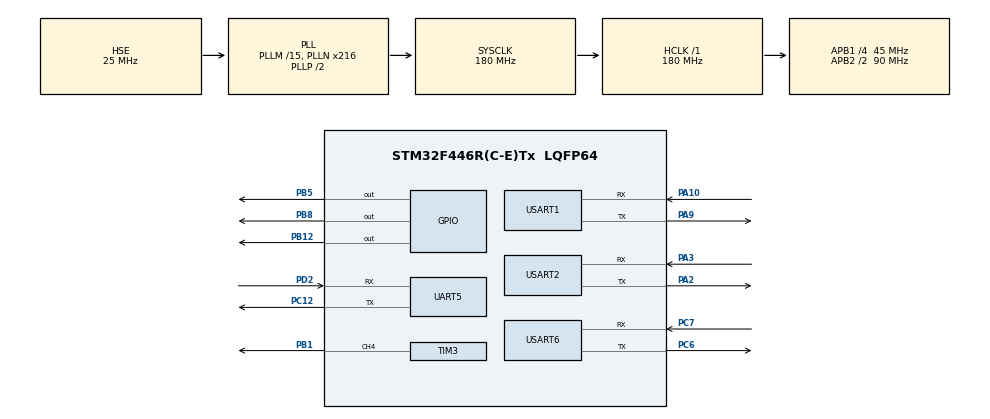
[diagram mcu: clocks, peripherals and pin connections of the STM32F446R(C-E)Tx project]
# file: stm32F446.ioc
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Dma.Request0=USART2_RX
Dma.Request1=UART5_RX
Dma.Request2=USART1_RX
Dma.UART5_RX.1.Direction=DMA_PERIPH_TO_MEMORY
Dma.UART5_RX.1.FIFOMode=DMA_FIFOMODE_DISABLE
Dma.UART5_RX.1.Instance=DMA1_Stream0
Dma.UART5_RX.1.MemDataAlignment=DMA_MDATAALIGN_BYTE
Dma.UART5_RX.1.MemInc=DMA_MINC_ENABLE
Dma.UART5_RX.1.Mode=DMA_CIRCULAR
Dma.UART5_RX.1.PeriphDataAlignment=DMA_PDATAALIGN_BYTE
Dma.UART5_RX.1.PeriphInc=DMA_PINC_DISABLE
Dma.UART5_RX.1.Priority=DMA_PRIORITY_LOW
Dma.USART1_RX.2.Direction=DMA_PERIPH_TO_MEMORY
Dma.USART1_RX.2.FIFOMode=DMA_FIFOMODE_DISABLE
Dma.USART1_RX.2.Instance=DMA2_Stream2
Dma.USART1_RX.2.MemDataAlignment=DMA_MDATAALIGN_BYTE
Dma.USART1_RX.2.MemInc=DMA_MINC_ENABLE
Dma.USART1_RX.2.Mode=DMA_CIRCULAR
Dma.USART1_RX.2.PeriphDataAlignment=DMA_PDATAALIGN_BYTE
Dma.USART1_RX.2.PeriphInc=DMA_PINC_DISABLE
Dma.USART1_RX.2.Priority=DMA_PRIORITY_LOW
Dma.USART2_RX.0.Direction=DMA_PERIPH_TO_MEMORY
Dma.USART2_RX.0.FIFOMode=DMA_FIFOMODE_DISABLE
Dma.USART2_RX.0.Instance=DMA1_Stream5
Dma.USART2_RX.0.MemDataAlignment=DMA_MDATAALIGN_BYTE
Dma.USART2_RX.0.MemInc=DMA_MINC_ENABLE
Dma.USART2_RX.0.Mode=DMA_CIRCULAR
Dma.USART2_RX.0.PeriphDataAlignment=DMA_PDATAALIGN_BYTE
Dma.USART2_RX.0.PeriphInc=DMA_PINC_DISABLE
Dma.USART2_RX.0.Priority=DMA_PRIORITY_LOW
FREERTOS.Tasks01=defaultTask,0,128,StartDefaultTask,Default,NULL,Dynamic,NULL,NULL;vision,0,128,vision_tesk,Default,NULL,Dynamic,NULL,NULL;screen,0,128,screen_tesk,Default,NULL,Dynamic,NULL,NULL;motor_control,0,128,motor_control_tesk,Default,NULL,Dynamic,NULL,NULL
Mcu.Family=STM32F4
Mcu.Name=STM32F446R(C-E)Tx
Mcu.Package=LQFP64
NVIC.DMA1_Stream0_IRQn=true\:5\:0\:false\:false\:true\:true\:false\:true\:true
NVIC.DMA1_Stream5_IRQn=true\:5\:0\:false\:false\:true\:true\:false\:true\:true
NVIC.DMA2_Stream2_IRQn=true\:5\:0\:false\:false\:true\:true\:false\:true\:true
NVIC.PriorityGroup=NVIC_PRIORITYGROUP_4
NVIC.TIM3_IRQn=true\:6\:0\:true\:false\:true\:true\:true\:true\:true
NVIC.TIM8_TRG_COM_TIM14_IRQn=true\:15\:0\:false\:false\:true\:false\:false\:true\:true
NVIC.TimeBase=TIM8_TRG_COM_TIM14_IRQn
NVIC.TimeBaseIP=TIM14
NVIC.UART5_IRQn=true\:6\:0\:true\:false\:true\:true\:true\:true\:true
NVIC.USART1_IRQn=true\:6\:0\:true\:false\:true\:true\:true\:true\:true
NVIC.USART2_IRQn=true\:6\:0\:true\:false\:true\:true\:true\:true\:true
NVIC.USART6_IRQn=true\:7\:0\:true\:false\:true\:true\:true\:true\:true
PA10.Mode=Asynchronous
PA10.Signal=USART1_RX
PA13.Mode=Serial_Wire
PA13.Signal=SYS_JTMS-SWDIO
PA14.Mode=Serial_Wire
PA14.Signal=SYS_JTCK-SWCLK
PA2.Mode=Asynchronous
PA2.Signal=USART2_TX
PA3.Mode=Asynchronous
PA3.Signal=USART2_RX
PA9.Mode=Asynchronous
PA9.Signal=USART1_TX
PB1.Signal=S_TIM3_CH4
PB12.GPIO_PuPd=GPIO_NOPULL
PB12.Signal=GPIO_Output
PB5.Signal=GPIO_Output
PB8.Signal=GPIO_Output
PC12.Mode=Asynchronous
PC12.Signal=UART5_TX
PC6.Mode=Asynchronous
PC6.Signal=USART6_TX
PC7.Mode=Asynchronous
PC7.Signal=USART6_RX
PD2.Mode=Asynchronous
PD2.Signal=UART5_RX
PH0-OSC_IN.Mode=HSE-External-Oscillator
PH0-OSC_IN.Signal=RCC_OSC_IN
PH1-OSC_OUT.Mode=HSE-External-Oscillator
PH1-OSC_OUT.Signal=RCC_OSC_OUT
ProjectManager.HeapSize=0x200
ProjectManager.StackSize=0x400
ProjectManager.TargetToolchain=MDK-ARM V5.27
RCC.AHBFreq_Value=180000000
RCC.APB1CLKDivider=RCC_HCLK_DIV4
RCC.APB1Freq_Value=45000000
RCC.APB1TimFreq_Value=90000000
RCC.APB2CLKDivider=RCC_HCLK_DIV2
RCC.APB2Freq_Value=90000000
RCC.APB2TimFreq_Value=180000000
RCC.CortexFreq_Value=180000000
RCC.HCLKFreq_Value=180000000
RCC.HSE_VALUE=25000000
RCC.PLLM=15
RCC.PLLN=216
RCC.PLLQ=5
RCC.PLLSourceVirtual=RCC_PLLSOURCE_HSE
RCC.SYSCLKFreq_VALUE=180000000
RCC.SYSCLKSource=RCC_SYSCLKSOURCE_PLLCLK
RCC.USBFreq_Value=72000000
RCC.VCOOutputFreq_Value=360000000
SH.S_TIM3_CH4.0=TIM3_CH4,PWM Generation4 CH4
TIM3.AutoReloadPreload=TIM_AUTORELOAD_PRELOAD_ENABLE
TIM3.Channel-PWM\ Generation4\ CH4=TIM_CHANNEL_4
TIM3.Period=1000-1
TIM3.Prescaler=180-1
UART5.VirtualMode=Asynchronous
USART1.VirtualMode=VM_ASYNC
USART2.VirtualMode=VM_ASYNC
USART6.VirtualMode=VM_ASYNC
VP_FREERTOS_VS_CMSIS_V1.Mode=CMSIS_V1
VP_SYS_VS_tim14.Mode=TIM14
VP_TIM3_VS_ClockSourceINT.Mode=Internal
board=custom

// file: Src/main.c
/* USER CODE BEGIN Header */
/**
  ******************************************************************************
  * @file           : main.c
  * @brief          : Main program body
  ******************************************************************************
  * @attention
  *
  * Copyright (c) 2023 STMicroelectronics.
  * All rights reserved.
  *
  * This software is licensed under terms that can be found in the LICENSE file
  * in the root directory of this software component.
  * If no LICENSE file comes with this software, it is provided AS-IS.
  *
  ******************************************************************************
  */
/* USER CODE END Header */
#include "main.h"
#include "cmsis_os.h"
#include "dma.h"
#include "tim.h"
#include "usart.h"
#include "gpio.h"

/* USER CODE BEGIN Includes */
#include "motor_control.h"
/* USER CODE END Includes */

/* USER CODE BEGIN PV */
extern uint8_t USART6_Rx_Buf[6];
extern int esp_show;
/* USER CODE END PV */

void SystemClock_Config(void);
void MX_FREERTOS_Init(void);

/* USER CODE BEGIN 0 */
uint8_t Vision_data[Vision_FRAME_LENGTH];
uint8_t Motor_data[Motor_FRAME_LENGTH];
/* USER CODE END 0 */

int main(void)
{

  /* MCU Configuration--------------------------------------------------------*/

  /* Reset of all peripherals, Initializes the Flash interface and the Systick. */
  HAL_Init();

  /* Configure the system clock */
  SystemClock_Config();

  /* Initialize all configured peripherals */
  MX_GPIO_Init();
  MX_DMA_Init();
  MX_USART1_UART_Init();
  MX_USART2_UART_Init();
  MX_UART5_Init();
  MX_TIM3_Init();
  MX_USART6_UART_Init();
  /* USER CODE BEGIN 2 */
  //HAL_UART_Receive_DMA(&huart1,(uint8_t*)&Vision_data[0],Vision_FRAME_LENGTH);
  HAL_UART_Receive_DMA(&huart2,(uint8_t*)&Vision_data[0],Vision_FRAME_LENGTH);
  HAL_UART_Receive_DMA(&huart5,&Motor_data[0],Motor_FRAME_LENGTH);
	HAL_TIM_PWM_Start(&htim3, TIM_CHANNEL_4);

	HAL_GPIO_WritePin(GPIOB,GPIO_PIN_12,GPIO_PIN_SET);
  HAL_GPIO_WritePin(GPIOB,GPIO_PIN_8,GPIO_PIN_RESET);
  HAL_GPIO_WritePin(GPIOB,GPIO_PIN_5,GPIO_PIN_RESET);

  Down_Motor.motor_act=1;
  Down_Motor.motor_target=1;
  /* USER CODE END 2 */

  /* Call init function for freertos objects (in freertos.c) */
  MX_FREERTOS_Init();

  /* Start scheduler */
  osKernelStart();
  /* We should never get here as control is now taken by the scheduler */
  /* Infinite loop */
  while (1)
  {

  }
}

void SystemClock_Config(void)
{
  RCC_OscInitTypeDef RCC_OscInitStruct = {0};
  RCC_ClkInitTypeDef RCC_ClkInitStruct = {0};

  /** Configure the main internal regulator output voltage
  */
  __HAL_RCC_PWR_CLK_ENABLE();
  __HAL_PWR_VOLTAGESCALING_CONFIG(PWR_REGULATOR_VOLTAGE_SCALE1);

  /** Initializes the RCC Oscillators according to the specified parameters
  * in the RCC_OscInitTypeDef structure.
  */
  RCC_OscInitStruct.OscillatorType = RCC_OSCILLATORTYPE_HSE;
  RCC_OscInitStruct.HSEState = RCC_HSE_ON;
  RCC_OscInitStruct.PLL.PLLState = RCC_PLL_ON;
  RCC_OscInitStruct.PLL.PLLSource = RCC_PLLSOURCE_HSE;
  RCC_OscInitStruct.PLL.PLLM = 15;
  RCC_OscInitStruct.PLL.PLLN = 216;
  RCC_OscInitStruct.PLL.PLLP = RCC_PLLP_DIV2;
  RCC_OscInitStruct.PLL.PLLQ = 5;
  RCC_OscInitStruct.PLL.PLLR = 2;
  if (HAL_RCC_OscConfig(&RCC_OscInitStruct) != HAL_OK)
  {
    Error_Handler();
  }

  /** Activate the Over-Drive mode
  */
  if (HAL_PWREx_EnableOverDrive() != HAL_OK)
  {
    Error_Handler();
  }

  /** Initializes the CPU, AHB and APB buses clocks
  */
  RCC_ClkInitStruct.ClockType = RCC_CLOCKTYPE_HCLK|RCC_CLOCKTYPE_SYSCLK
                              |RCC_CLOCKTYPE_PCLK1|RCC_CLOCKTYPE_PCLK2;
  RCC_ClkInitStruct.SYSCLKSource = RCC_SYSCLKSOURCE_PLLCLK;
  RCC_ClkInitStruct.AHBCLKDivider = RCC_SYSCLK_DIV1;
  RCC_ClkInitStruct.APB1CLKDivider = RCC_HCLK_DIV4;
  RCC_ClkInitStruct.APB2CLKDivider = RCC_HCLK_DIV2;

  if (HAL_RCC_ClockConfig(&RCC_ClkInitStruct, FLASH_LATENCY_5) != HAL_OK)
  {
    Error_Handler();
  }
}

void HAL_TIM_PeriodElapsedCallback(TIM_HandleTypeDef *htim)
{
  if (htim->Instance == TIM14) {
    HAL_IncTick();
  }
  /* USER CODE BEGIN Callback 1 */
	if(htim->Instance == TIM3)
	{
	}
  /* USER CODE END Callback 1 */
}

void Error_Handler(void)
{
  __disable_irq();
  while (1)
  {
  }
}

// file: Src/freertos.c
/* USER CODE BEGIN Header */
/**
  ******************************************************************************
  * File Name          : freertos.c
  * Description        : Code for freertos applications
  ******************************************************************************
  * @attention
  *
  * Copyright (c) 2023 STMicroelectronics.
  * All rights reserved.
  *
  * This software is licensed under terms that can be found in the LICENSE file
  * in the root directory of this software component.
  * If no LICENSE file comes with this software, it is provided AS-IS.
  *
  ******************************************************************************
  */
/* USER CODE END Header */

#include "FreeRTOS.h"
#include "task.h"
#include "main.h"
#include "cmsis_os.h"

/* USER CODE BEGIN Includes */
#include "motor_control.h"
#include "tim.h"
#include "screen.h"
#include "vision.h"
/* USER CODE END Includes */

osThreadId defaultTaskHandle;
osThreadId visionHandle;
osThreadId screenHandle;
osThreadId motor_controlHandle;

void StartDefaultTask(void const * argument);
void vision_tesk(void const * argument);
void screen_tesk(void const * argument);
void motor_control_tesk(void const * argument);

void MX_FREERTOS_Init(void); /* (MISRA C 2004 rule 8.1) */

/* GetIdleTaskMemory prototype (linked to static allocation support) */
void vApplicationGetIdleTaskMemory( StaticTask_t **ppxIdleTaskTCBBuffer, StackType_t **ppxIdleTaskStackBuffer, uint32_t *pulIdleTaskStackSize );

/* USER CODE BEGIN GET_IDLE_TASK_MEMORY */
static StaticTask_t xIdleTaskTCBBuffer;
static StackType_t xIdleStack[configMINIMAL_STACK_SIZE];

void vApplicationGetIdleTaskMemory( StaticTask_t **ppxIdleTaskTCBBuffer, StackType_t **ppxIdleTaskStackBuffer, uint32_t *pulIdleTaskStackSize )
{
  *ppxIdleTaskTCBBuffer = &xIdleTaskTCBBuffer;
  *ppxIdleTaskStackBuffer = &xIdleStack[0];
  *pulIdleTaskStackSize = configMINIMAL_STACK_SIZE;
  /* place for user code */
}
/* USER CODE END GET_IDLE_TASK_MEMORY */

void MX_FREERTOS_Init(void) {

  /* Create the thread(s) */
  /* definition and creation of defaultTask */
  osThreadDef(defaultTask, StartDefaultTask, osPriorityNormal, 0, 128);
  defaultTaskHandle = osThreadCreate(osThread(defaultTask), NULL);

  /* definition and creation of vision */
  osThreadDef(vision, vision_tesk, osPriorityNormal, 0, 128);
  visionHandle = osThreadCreate(osThread(vision), NULL);

  /* definition and creation of screen */
  osThreadDef(screen, screen_tesk, osPriorityNormal, 0, 128);
  screenHandle = osThreadCreate(osThread(screen), NULL);

  /* definition and creation of motor_control */
  osThreadDef(motor_control, motor_control_tesk, osPriorityNormal, 0, 128);
  motor_controlHandle = osThreadCreate(osThread(motor_control), NULL);

}

void StartDefaultTask(void const * argument)
{
  /* USER CODE BEGIN StartDefaultTask */
  /* Infinite loop */
  for(;;)
  {
		//vision_send_2();
		//screen_return_movie();
    osDelay(2);
  }
  /* USER CODE END StartDefaultTask */
}

void vision_tesk(void const * argument)
{
  /* USER CODE BEGIN vision_tesk */
  /* Infinite loop */
  for(;;)
  {
    vision_uart_deal();
    osDelay(2);
  }
  /* USER CODE END vision_tesk */
}

/* USER CODE BEGIN Header_screen_tesk */
uint32_t vision_send_sign_1=0,vision_2_sign_1=0,vision_1_sign_1=0;
uint8_t vision_last_sign=0;
extern uint8_t up_motor_move_flag;
/**
* @brief Function implementing the screen thread.
* @param argument: Not used
* @retval None
*/
/* USER CODE END Header_screen_tesk */
void screen_tesk(void const * argument)
{
  /* USER CODE BEGIN screen_tesk */
  /* Infinite loop */
  for(;;)
  {
		if(vision_send_sign_1==2) vision_2_sign_1++;
		if(vision_2_sign_1==1)
		{
			vision_1_sign_1=0;
			vision_send_2();
		}

		if(vision_send_sign_1==1) vision_1_sign_1++;
		if(vision_1_sign_1==1)
		{
			vision_send_1();
			vision_2_sign_1=0;
		}

    screen_display_task();
    osDelay(2);
  }
  /* USER CODE END screen_tesk */
}

/* USER CODE BEGIN Header_motor_control_tesk */
uint8_t push_rod_motor_flage=0,Down_motor_flag=0,up_motor_tim_number=0,up_motor_sign_2=0;
uint16_t up_motor_sign_1=0,up_motor_wait_tim=500;
int cnt1,CNT2;//this useed
int cjr226=0,cue151=0;
/**
* @brief Function implementing the motor_control thread.
* @param argument: Not used
* @retval None
*/
/* USER CODE END Header_motor_control_tesk */
void motor_control_tesk(void const * argument)
{
  /* USER CODE BEGIN motor_control_tesk */
  /* Infinite loop */
  for(;;)
  {
    if(up_motor_tim_number==1)
    {
      up_motor_sign_1++;
      if(up_motor_sign_1==up_motor_wait_tim)
      {
				cjr226++;
        up_motor_sign_2=1;
        up_motor_sign_1=0;
        up_motor_tim_number=0;
      }
    }
    if(up_motor_sign_2==1)
    {
			cue151++;
      UP_motor_move();
    }
    if(Down_motor_flag==1)
    {
      //cnt1++;
      if(Down_Motor.motor_act-Down_Motor.motor_target==2) up_motor_wait_tim=800;
      else
      {
        up_motor_wait_tim=500;
      }
      rotateToPosition(Down_Motor.motor_act,Down_Motor.motor_target);
      up_motor_tim_number=1;
      Down_motor_flag=0;
    }

    if(push_rod_motor_flage==1)
    {
      cnt1++;
      push_rod_motor_in();
      if(cnt1%2700==0) push_rod_motor_flage=3;
      //HAL_GPIO_WritePin(GPIOB,GPIO_PIN_8,GPIO_PIN_RESET);
    }
    else if(push_rod_motor_flage==2)
    {
      CNT2++;
      push_rod_motor_push();
      if(CNT2%2700==0) push_rod_motor_flage=3;
      //HAL_GPIO_WritePin(GPIOB,GPIO_PIN_8,GPIO_PIN_SET);
    }
    else if(push_rod_motor_flage==3)
    {
      push_rod_motor_stop();
      //HAL_GPIO_WritePin(GPIOB,GPIO_PIN_8,GPIO_PIN_SET);
    }
    osDelay(2);
  }
  /* USER CODE END motor_control_tesk */
}
